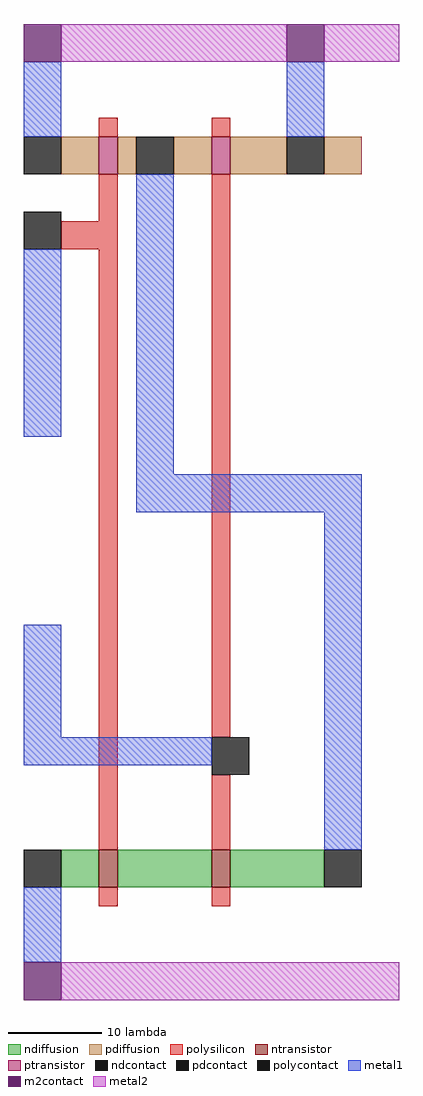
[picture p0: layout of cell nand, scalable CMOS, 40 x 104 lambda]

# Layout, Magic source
magic
tech scmos
<< polysilicon >>
rect 12 92 14 94
rect 24 92 26 94
rect 12 83 14 88
rect 8 80 14 83
rect 12 16 14 80
rect 24 28 26 88
rect 24 16 26 24
rect 12 10 14 12
rect 24 10 26 12
<< ndiffusion >>
rect 8 12 12 16
rect 14 12 24 16
rect 26 12 36 16
<< pdiffusion >>
rect 8 88 12 92
rect 14 88 16 92
rect 20 88 24 92
rect 26 88 32 92
rect 36 88 40 92
<< metal1 >>
rect 4 92 8 100
rect 32 92 36 100
rect 4 60 8 80
rect 16 56 20 88
rect 16 52 40 56
rect 4 28 8 40
rect 4 25 24 28
rect 36 16 40 52
rect 4 4 8 12
<< metal2 >>
rect 8 100 32 104
rect 36 100 44 104
rect 8 0 44 4
<< ntransistor >>
rect 12 12 14 16
rect 24 12 26 16
<< ptransistor >>
rect 12 88 14 92
rect 24 88 26 92
<< polycontact >>
rect 4 80 8 84
rect 24 24 28 28
<< ndcontact >>
rect 4 12 8 16
rect 36 12 40 16
<< pdcontact >>
rect 4 88 8 92
rect 16 88 20 92
rect 32 88 36 92
<< m2contact >>
rect 4 100 8 104
rect 32 100 36 104
rect 4 0 8 4
<< end >>
